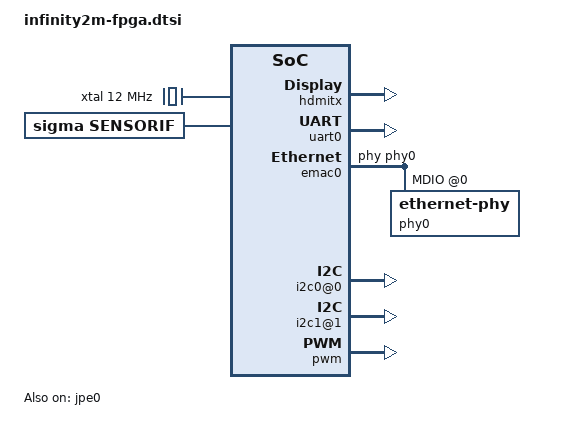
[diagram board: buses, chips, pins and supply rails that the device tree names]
/*
* infinity2m-fpga.dtsi- Sigmastar
*
* Copyright (c) [2019~2020] SigmaStar Technology.
*
*
* This software is licensed under the terms of the GNU General Public
* License version 2, as published by the Free Software Foundation, and
* may be copied, distributed, and modified under those terms.
*
* This program is distributed in the hope that it will be useful,
* but WITHOUT ANY WARRANTY; without even the implied warranty of
* MERCHANTABILITY or FITNESS FOR A PARTICULAR PURPOSE.  See the
* GNU General Public License version 2 for more details.
*
*/

#include <../../../../drivers/sstar/include/infinity2m/irqs.h>
#include <../../../../drivers/sstar/include/infinity2m/gpio.h>
#include <dt-bindings/interrupt-controller/irq.h>
#include <dt-bindings/interrupt-controller/arm-gic.h>
#include "skeleton.dtsi"


/ {
    cpus {
        #address-cells = <1>;
        #size-cells = <0>;

        cpu@0 {
            device_type = "cpu";
            compatible = "arm,cortex-a7";
            clocks = <&xtal>;
        };
        cpu@1 {
            device_type = "cpu";
            compatible = "arm,cortex-a7";
            clocks = <&xtal>;
        };

    };

    xtal: oscillator {
        compatible = "fixed-clock";
        #clock-cells = <0>;
        clock-frequency = <12000000>;
    };

    aliases {
        console = &uart0;
        serial0 = &uart0;
    };

    soc {
        compatible = "simple-bus";
        interrupt-parent = <&ms_main_intc>;
        #address-cells = <1>;
        #size-cells = <1>;
        ranges;

        gic: gic@16000000 {
            compatible = "arm,cortex-a7-gic";
            #interrupt-cells = <3>;
            #address-cells = <1>;
            #size-cells = <1>;
            interrupt-controller;
            interrupt-parent = <&gic>;
            reg = <0x16001000 0x1000>,
                  <0x16002000 0x1000>;
        };

        ms_main_intc: ms_main_intc {
            compatible = "sstar,main-intc";
            #interrupt-cells = <3>;
            #address-cells = <1>;
            #size-cells = <1>;
            interrupt-parent=<&gic>;
            interrupt-controller;
        };

        ms_pm_intc: ms_pm_intc {
            compatible = "sstar,pm-intc";
            #interrupt-cells = <1>;
            interrupt-parent=<&ms_main_intc>;
            interrupt-controller;
        };

        arch_timer {
            compatible = "arm,cortex-a7-timer", "arm,armv7-timer";
            interrupt-parent=<&gic>;
            interrupts = <GIC_PPI 13 (GIC_CPU_MASK_SIMPLE(2) | IRQ_TYPE_LEVEL_LOW)>,
                         <GIC_PPI 14 (GIC_CPU_MASK_SIMPLE(2) | IRQ_TYPE_LEVEL_LOW)>,
                         <GIC_PPI 11 (GIC_CPU_MASK_SIMPLE(2) | IRQ_TYPE_LEVEL_LOW)>,
                         <GIC_PPI 10 (GIC_CPU_MASK_SIMPLE(2) | IRQ_TYPE_LEVEL_LOW)>;
            clock-frequency = <24000000>;  /* arch_timer must use clock-frequency*/
        };

        pmu {
            compatible = "arm,cortex-a7-pmu";
            interrupt-parent=<&gic>;
            interrupts = <GIC_SPI 10 IRQ_TYPE_LEVEL_HIGH>,
                         <GIC_SPI 16 IRQ_TYPE_LEVEL_HIGH>,
                         <GIC_SPI 22 IRQ_TYPE_LEVEL_HIGH>,
                         <GIC_SPI 28 IRQ_TYPE_LEVEL_HIGH>;
        };

        clks: clocks{
            #address-cells = <1>;
            #size-cells = <1>;
            ranges;
        };

/*
        timer_clockevent: timer@1F006040 {
            compatible = "sstar,piu-clockevent";
            reg = <0x1F006040 0x100>;
            interrupts=<GIC_SPI INT_FIQ_TIMER_0 IRQ_TYPE_LEVEL_HIGH>;
            clocks = <&CLK_xtali_12m>;
        };
*/
/*
        venc{
            compatible = "sstar,venc";
            reg = <0x1F264800 0x100>, <0x1F264A00 0x100>, <0x1F264C00 0x100>,
                  <0x1F264E00 0x100>, <0x1F265000 0x100>,
                  <0x1F265200 0x100>, <0x1F265400 0x100>, <0x1F265600 0x100>, <0x1F265800 0x100>;
            reg-names = "mhe-0", "mhe-1", "mhe-2", "mfe-0", "mfe-1", "ven-0", "ven-1", "ven-2", "ven-3";
            interrupts = <GIC_SPI INT_IRQ_MHE IRQ_TYPE_LEVEL_HIGH>, <GIC_SPI INT_IRQ_MFE IRQ_TYPE_LEVEL_HIGH>;
            interrupt-parent = <&ms_main_intc>;
            interrupt-names = "mhe-irq", "mfe-irq";
            clocks = <&CLK_vhe>, <&CLK_miu_vhe>, <&CLK_riu_vhe_gp>, <&CLK_riu_w_clk_vhe_gp>, <&CLK_miu_vhe_gp_p>, <&CLK_miu_vhe_gp>;
            clock-names = "CKG_venc";
            status = "ok";
        };

        hvsp1: hvsp1 {
            compatible = "sstar,sclhvsp1_i6";
            //reg = <0x1F000000 0x100>;
            //clk,chiptop,hvsp0,sc0,dnr,ldc
            clocks = <&CLK_idclk>,<&CLK_fclk1>,<&CLK_fclk2>,<&CLK_odclk>;
            clock-names = "CLK_idclk","CLK_fclk1","CLK_fclk2","CLK_odclk";
            status = "ok";
            interrupts = <GIC_SPI INT_IRQ_SC_TOP IRQ_TYPE_LEVEL_HIGH>, <GIC_SPI INT_IRQ_SC1_TOP_INT IRQ_TYPE_LEVEL_HIGH>, <GIC_SPI INT_IRQ_SC2_TOP_INT IRQ_TYPE_LEVEL_HIGH>, <GIC_SPI INT_IRQ_CMDQ IRQ_TYPE_LEVEL_HIGH>;
        };

        hvsp2: hvsp2 {
            compatible = "sstar,hvsp2";
            //reg = <0x1F000000 0x100>;
            //clk,chiptop,hvsp0,sc0,dnr,ldc
            clocks = <&CLK_idclk>,<&CLK_fclk1>,<&CLK_fclk2>,<&CLK_odclk>;
            clock-names = "CLK_idclk","CLK_fclk1","CLK_fclk2","CLK_odclk";
            status = "ok";
            interrupts = <GIC_SPI INT_IRQ_SC_TOP IRQ_TYPE_LEVEL_HIGH>, <GIC_SPI INT_IRQ_CMDQ IRQ_TYPE_LEVEL_HIGH>;
        };

        hvsp3: hvsp3 {
            compatible = "sstar,hvsp3";
            //reg = <0x1F000000 0x100>;
            //clk,chiptop,hvsp0,sc0,dnr,ldc
            clocks = <&CLK_idclk>,<&CLK_fclk1>,<&CLK_fclk2>,<&CLK_odclk>;
            clock-names = "CLK_idclk","CLK_fclk1","CLK_fclk2","CLK_odclk";
            status = "ok";
            interrupts = <GIC_SPI INT_IRQ_SC_TOP IRQ_TYPE_LEVEL_HIGH>, <GIC_SPI INT_IRQ_CMDQ IRQ_TYPE_LEVEL_HIGH>;
        };

        scldma1: scldma1 {
            compatible = "sstar,scldma1";
            //reg = <0x1F000000 0x100>;
            //clk,chiptop,scldma
            clocks =  <&CLK_idclk>,<&CLK_fclk1>,<&CLK_fclk2>,<&CLK_odclk>;
            clock-names = "CLK_idclk","CLK_fclk1","CLK_fclk2","CLK_odclk";
            status = "ok";
            interrupts = <GIC_SPI INT_IRQ_SC_TOP IRQ_TYPE_LEVEL_HIGH>;
        };
        scldma2: scldma2 {
            compatible = "sstar,scldma2";
            //reg = <0x1F000000 0x100>;
            //clk,chiptop,scldma
            clocks =  <&CLK_idclk>,<&CLK_fclk1>,<&CLK_fclk2>,<&CLK_odclk>;
            clock-names = "CLK_idclk","CLK_fclk1","CLK_fclk2","CLK_odclk";
            status = "ok";
            interrupts = <GIC_SPI INT_IRQ_SC_TOP IRQ_TYPE_LEVEL_HIGH>;
        };
        scldma3: scldma3 {
            compatible = "sstar,scldma3";
            //reg = <0x1F000000 0x100>;
            //clk,chiptop,scldma
            clocks =  <&CLK_idclk>,<&CLK_fclk1>,<&CLK_fclk2>,<&CLK_odclk>;
            clock-names = "CLK_idclk","CLK_fclk1","CLK_fclk2","CLK_odclk";
            status = "ok";
            interrupts = <GIC_SPI INT_IRQ_SC_TOP IRQ_TYPE_LEVEL_HIGH>;
        };
        scldma4: scldma4 {
            compatible = "sstar,scldma4";
            //reg = <0x1F000000 0x100>;
            //clk,chiptop,scldma
            clocks =  <&CLK_idclk>,<&CLK_fclk1>,<&CLK_fclk2>,<&CLK_odclk>;
            clock-names = "CLK_idclk","CLK_fclk1","CLK_fclk2","CLK_odclk";
            status = "ok";
            interrupts = <GIC_SPI INT_IRQ_SC_TOP IRQ_TYPE_LEVEL_HIGH>;
        };
*/
        vip: vip {
            compatible = "sstar,vip";
            status = "ok";

            //reg = <0x1F224000 0x200>;
        };

        pnl: pnl {
            compatible = "sstar,pnl";
            status = "ok";

            //Reg = <0x1F224000 0x200>;
        };

        disp: disp {
            compatible = "sstar,disp";
            status = "ok";
            interrupts = <GIC_SPI INT_IRQ_DISP0 IRQ_TYPE_LEVEL_HIGH>, <GIC_SPI INT_IRQ_DISP_1 IRQ_TYPE_LEVEL_HIGH>;
            //Reg = <0x1F224000 0x200>;
        };

        hdmitx: hdmitx {
            compatible = "sstar,hdmitx";
            status = "ok";

            //Reg = <0x1F224000 0x200>;
        };
        
        ge: ge {
            compatible = "sstar,ge";
            status = "ok";
            interrupts = <GIC_SPI INT_IRQ_GE IRQ_TYPE_LEVEL_HIGH>;
            //Reg = <0x1F224000 0x200>;
        };

        uart0: uart@1F221000 {
            compatible = "sstar,uart";
            reg = <0x1F221000 0x100>;
            interrupts= <GIC_SPI INT_IRQ_UART_0 IRQ_TYPE_LEVEL_HIGH>;
            status = "ok";
            clocks = <&xtal>;
        };
				dip {
            compatible = "sstar,dip";
            interrupts=<GIC_SPI INT_IRQ_DIP0 IRQ_TYPE_LEVEL_HIGH>;
            status = "ok";
        };

        emac0: emac0 {
            compatible = "sstar-emac";
            interrupts = <GIC_SPI INT_IRQ_EMAC IRQ_TYPE_LEVEL_HIGH>, <GIC_SPI INT_FIQ_LAN_ESD IRQ_TYPE_LEVEL_HIGH>;
            // clocks = <&CLK_emac_ahb>,<&CLK_emac_tx>,<&CLK_emac_rx>;
            // reg = <0x1F2A2000 0x800>, <0x1F343C00 0x600>, <0x1F006200 0x600>;
            reg = <0x1F2A2000 0x800>, <0x1F343C00 0x600>, <0x00000000 0x000>;
            pad = <0x1F203C38 0x0001 0x0001>; // pad selection from 0x0001
            phy-handle = <&phy0>;
            max-speed = <10>;
            mdio_path = <0>; // force internal mdio
            status = "ok";
            mdio-bus {
                phy0: ethernet-phy@0 {
                    // phy-mode = "rmii";
                    phy-mode = "mii";
                };
            };
        };

/*
        emac1: emac1 {
            compatible = "sstar-emac";
            interrupts = <GIC_SPI INT_IRQ_EMAC_1 IRQ_TYPE_LEVEL_HIGH>, <GIC_SPI INT_FIQ_LAN_ESD IRQ_TYPE_LEVEL_HIGH>;
            // clocks = <&CLK_emac_ahb>,<&CLK_emac_tx>,<&CLK_emac_rx>;
            reg = <0x1F2A2800 0x800>, <0x1F344200 0x600>, <0x00000000 0x000>;
            pad = <0x1F203C38 0x0F00 0x0100>; // pad selection from 0x0100/0x0200/0x0300/0x0400/0x0500/0x0600/0x0700/0x0800/0x0900
            phy-handle = <&phy1>;
            max-speed = <10>;
            status = "ok";
            mdio-bus {
                phy1: ethernet-phy@1 {
                    // phy-mode = "rmii";
                    phy-mode = "mii";
                };
            };
        };
*/

        flashisp {
            compatible = "mtd-flashisp";
            clocks = <&CLK_bdma>;
            quadread = <0>;
            status = "disabled";
        };
/*
        isp: isp {
            compatible = "isp";
            io_phy_addr = <0x1f000000>;
            banks = <0x1302>,<0x1303>,<0x1304>,<0x1305>,<0x1306>,<0x1307>,<0x1308>,<0x1309>,<0x130A>,<0x130B>;
            interrupts = <GIC_SPI INT_IRQ_ISP IRQ_TYPE_LEVEL_HIGH>;
            clocks = <&CLK_isp>,<&CLK_sr_mclk>,<&CLK_sr>,<&CLK_csi_mac>;
            status = "ok";
        };
*/
/*
        csi: csi {
            compatible = "csi";
            io_phy_addr = <0x1f000000>;
            banks = <0x1204>;
            interrupts=  <GIC_SPI INT_IRQ_MIPI_CSI2 IRQ_TYPE_LEVEL_HIGH>;
            status = "ok";
        };
        vif: vif {
            compatible = "sigma,vif";
            status = "ok";
            reg = <0x1F263200 0x600>, <0x0 0x0>, <0x0 0x0>, <0x0 0x0>, <0x0 0x0>, <0x0 0x0>, <0x1F203C00 0x200>, <0x1F226600 0x200>, <0x1F207000 0x200>, <0x1F000000 0x400000>;
            clocks = <&CLK_sr_mclk>;
            interrupts = <GIC_SPI INT_IRQ_VIF IRQ_TYPE_LEVEL_HIGH>;
            // Config sensor 0 pad mux
            vif_sr0_par_mode = <2>;
            vif_sr0_mipi_mode = <2>;
            vif_sr0_bt656_mode = <2>;
            // Config sensor 1 pad mux
            vif_sr1_par_mode = <2>;
            vif_sr1_mipi_mode = <2>;
            vif_sr1_bt656_mode = <2>;
        };
*/
        ispalgo: ispalgo {
            compatible = "sstar,ispalgo";
            status = "ok";
        };

        ispmid: ispmid {
            compatible = "sstar,ispmid";
            status = "ok";
        };

        sensorif: sensorif {
            compatible = "sigma,sensorif";
            status = "ok";
            sensorif_grp0_i2c = <1>;
        };

        jpe0: jpe@0x1F264000 {
            compatible = "sstar,cedric-jpe";
            reg = <0x1F264000 0x100>;
            interrupts = <GIC_SPI INT_IRQ_JPE IRQ_TYPE_LEVEL_HIGH>;
            clocks = <&CLK_jpe>;
            clock-names = "CKG_jpe";
            clk-select = <0>; // 0: 288MHz  1: 216MHz  2: 54MHz  3: 27MHz
            status = "ok";
        };
/*
        ive0: ive@0x1F2A4000 {
            compatible = "sstar,infinity3-ive";
            reg = <0x1F2A4000 0x100>,<0x1F2A4200 0x100>;
            interrupts = <GIC_SPI INT_IRQ_IVE_INT IRQ_TYPE_LEVEL_HIGH>;
            clocks = <&CLK_ive>,<&CLK_miu_ive>;
            status = "ok";
        };
*/
        i2c0@0{
            compatible = "sstar,i2c";
            reg = <0x1F223000 0x200>,<0x1F203c00 0x200>,<0x1F207000 0x200>;
                #address-cells = <1>;
                #size-cells = <0>;
            clocks = <&CLK_miic0>;
            i2c-group = <0>;
            status = "ok";
            /*
             * padmux: 1 -> PAD_I2C0_SCL, PAD_I2C0_SDA
             *         2 -> PAD_PWM0, PAD_PWM1
             *         3 -> PAD_SR_IO00, PAD_SR_IO01
            */
            i2c-padmux = <1>;
        };

        i2c1@1{
            compatible = "sstar,i2c";
            reg = <0x1F223200 0x200>,<0x1F203c00 0x200>,<0x1F207000 0x200>;
                #address-cells = <1>;
                #size-cells = <0>;
            clocks = <&CLK_miic1>;
            i2c-group = <1>;
            /*
             * padmux: 1 -> PAD_I2C1_SCL, PAD_I2C1_SDA
             *         2 -> PAD_PWM0, PAD_PWM1
             *         3 -> PAD_SR_IO00, PAD_SR_IO01
            */
            i2c-padmux = <1>;
            status = "ok";
//            24c512@54 {
//                compatible = "sstar,24c512";
//                reg = <0x54>;
//            };
        };

        sound {
            compatible = "sstar,infinity-audio";
//            reg = <0x1F000000 0x1000000>;
            interrupts=<GIC_SPI INT_IRQ_BACH IRQ_TYPE_LEVEL_HIGH>;
            playback-volume-level=<64>;    //0~76
            capture-volume-level=<64>;
            micin-gain-level=<0>;    //0~5
            linein-gain-level=<1>;//0~6
            lineout-gain-level=<1>;//0~2
        };
        bdma0 {
            compatible = "sstar,bdma0";
            interrupts=<GIC_SPI INT_IRQ_BDMA_0 IRQ_TYPE_LEVEL_HIGH>;
            clocks = <&CLK_bdma>;
            status = "ok";
        };

        bdma1 {
            compatible = "sstar,bdma1";
            interrupts=<GIC_SPI INT_IRQ_BDMA_1 IRQ_TYPE_LEVEL_HIGH>;
            clocks = <&CLK_bdma>;
            status = "ok";
        };

        bdma2 {
            compatible = "sstar,bdma2";
            interrupts=<GIC_SPI INT_IRQ_BDMA_2 IRQ_TYPE_LEVEL_HIGH>;
            clocks = <&CLK_bdma>;
            status = "ok";
        };

        bdma3 {
            compatible = "sstar,bdma3";
            interrupts=<GIC_SPI INT_IRQ_BDMA_3 IRQ_TYPE_LEVEL_HIGH>;
            clocks = <&CLK_bdma>;
            status = "ok";
        };

        movdma {
            compatible = "sstar,movdma";
            interrupts=<GIC_SPI INT_IRQ_MOVEDMA IRQ_TYPE_LEVEL_HIGH>;
            clocks = <&CLK_miu>;
            status = "ok";
        };
        /*
        gop{
            compatible = "sstar,infinity-gop";
            clocks = <&CLK_gop0>,<&CLK_fclk1>,<&GATE_MCM_gop>, <&GATE_SRAM_gop>;
            status = "ok";
        };

        gop1{
            compatible = "sstar,infinity-gop1";
            clocks = <&CLK_gop1>,<&CLK_fclk1>,<&GATE_MCM_gop>, <&GATE_SRAM_gop>;
            status = "ok";
        };

        gop2{
            compatible = "sstar,infinity-gop2";
            clocks = <&CLK_gop2>,<&CLK_fclk2>,<&GATE_MCM_gop>, <&GATE_SRAM_gop>;
            status = "ok";
        };
        */
        rtc {
            compatible = "sstar,infinity-rtc";
            reg = <0x1F002400 0x40>;
            interrupts=<GIC_SPI INT_IRQ_RTC IRQ_TYPE_LEVEL_HIGH>;
            clocks =  <&xtal>;
        };

        cpufreq {
            compatible = "sstar,infinity-cpufreq";
            status = "ok";
        };

        pwm {
            compatible = "sstar,infinity-pwm";
            reg = <0x1F003400 0x600>;
            clocks = <&CLK_xtali_12m>;
            npwm = <4>;
            pad-ctrl = <PAD_GPIO0 PAD_GPIO1 PAD_UNKNOWN PAD_UNKNOWN>;
            status = "ok";
        };

        cmdq0 {
            compatible = "sstar,cmdq0";
            clocks = <&CLK_mcu>; //for timeout tick
            interrupts=<GIC_SPI INT_IRQ_CMDQ IRQ_TYPE_LEVEL_HIGH>;
            status = "ok";
        };
/*
	Mstar-udc {
            compatible = "sstar,infinity-udc";
            interrupts = <GIC_SPI INT_IRQ_OTG IRQ_TYPE_LEVEL_HIGH>;
            status = "ok";
        };
*/
        miu {
            compatible = "sstar,miu";
            interrupts=<GIC_SPI INT_IRQ_MIU IRQ_TYPE_LEVEL_HIGH>;
            status = "ok";
        };

        mmu {
            compatible = "sstar,mmu";
            interrupts=<GIC_SPI INT_IRQ_MMU IRQ_TYPE_LEVEL_HIGH>;
            status = "ok";
        };

        dec {
	    compatible = "sstar,dec";
	    banks = <0x1137>;
	    interrupts = <GIC_SPI INT_IRQ_DEC IRQ_TYPE_LEVEL_HIGH>;
	    status = "ok";
        };

    };
};

&clks {
    #include <../../../../drivers/sstar/include/infinity2m/reg_clks.h>
    #include "infinity2m-clks.dtsi"
    #include "infinity2m-gates.dtsi"
};

